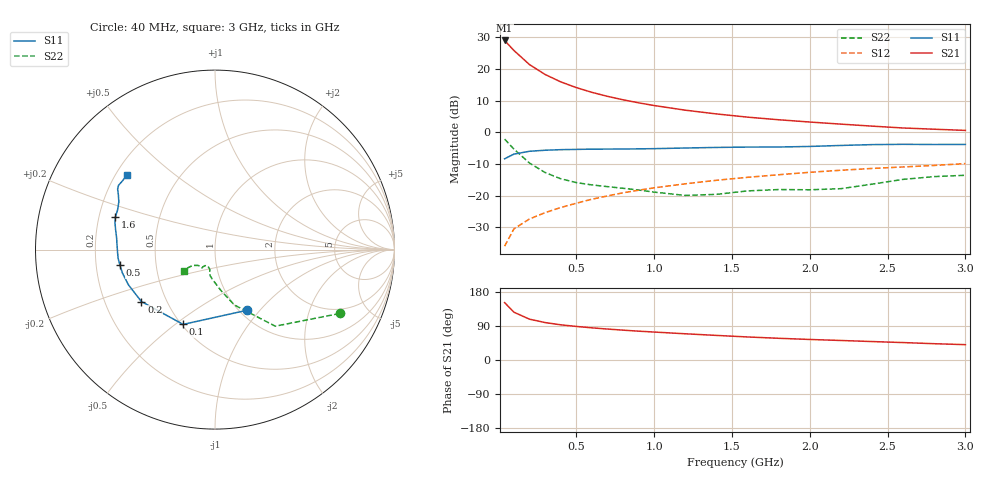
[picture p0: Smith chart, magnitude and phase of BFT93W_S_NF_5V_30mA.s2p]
! Filename:  BFT93WD.S2P  Version:  4.0
! Philips part #: BFT93W  Date: Jun 1994
! Bias condition: Vce=5V, Ic=30mA
#  MHz  S  MA  R  50
! Freq  S11  S21  S12  S22  !GUM [dB]
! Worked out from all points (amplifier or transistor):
!   21 points, 40 MHz to 3 GHz, reference 50 ohm
!   highest |S21| = 29.0 dB at 40 MHz (marker M1)
!   |S21| within 3 dB of that: start of sweep to 96.76 MHz
!   unconditionally stable (mu >= 1): 413.2 MHz to end of sweep
!   at 300 MHz: K = 0.91, MSG = 21.8 dB, |S12| = -25.4 dB
!   at 1 GHz: K = 1.13, MAG = 10.8 dB, |S12| = -17.5 dB
!   at 3 GHz: K = 1.03, MAG = 4.1 dB, |S12| = -9.9 dB
!   lowest NFmin = 3.40 dB at 500 MHz
!   S11 on the Smith chart (normalised r, x): 40 MHz: 1.08, -0.86; 100 MHz: 0.51, -0.53; 200 MHz: 0.36, -0.28; 500 MHz: 0.30, -0.07; 1.6 GHz: 0.27, +0.15; 3 GHz: 0.24, +0.35
40  0.382 -62.3  28.06 151.4  0.016 71.2  0.781 -27.1
100  0.453 -113.1  19.48 126.1  0.03 58.8  0.543 -51.8
200  0.502 -144.8  11.68 107.7  0.043 56.8  0.327 -70.7
300  0.521 -158.0  8.162 98.8  0.054 58.9  0.232 -81.5
400  0.532 -165.8  6.248 92.9  0.065 61.4  0.185 -89.9
500  0.537 -170.8  5.069 88.6  0.076 63.4  0.161 -96.5
600  0.542 -174.9  4.269 84.9  0.088 65.0  0.148 -100.5
700  0.543 -178.2  3.692 81.7  0.099 65.8  0.139 -102.3
800  0.545 178.7  3.258 78.8  0.111 66.4  0.131 -103.2
900  0.548 176.0  2.917 76.1  0.122 67.0  0.123 -103.6
1000  0.552 173.2  2.644 73.8  0.133 67.4  0.114 -104.8
1200  0.565 168.6  2.233 69.2  0.154 68.0  0.101 -112.5
1400  0.577 165.0  1.948 64.9  0.175 68.2  0.105 -121.9
1600  0.584 161.7  1.734 60.8  0.195 67.5  0.119 -125.4
1800  0.586 157.9  1.577 57.3  0.214 67.3  0.125 -125.0
2000  0.598 153.6  1.451 54.2  0.234 67.3  0.124 -128.3
2200  0.62 150.3  1.345 51.5  0.252 67.5  0.129 -137.0
2400  0.639 148.1  1.251 48.7  0.269 67.5  0.152 -144.6
2600  0.646 146.3  1.169 46.0  0.284 66.6  0.181 -146.1
2800  0.642 143.4  1.118 43.0  0.3 66.2  0.2 -144.7
3000  0.644 139.8  1.071 40.5  0.321 65.7  0.21 -145.0
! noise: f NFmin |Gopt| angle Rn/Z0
500  3.4  0.308  104.2  0.83
1000  4.2  0.38  164  0.31
